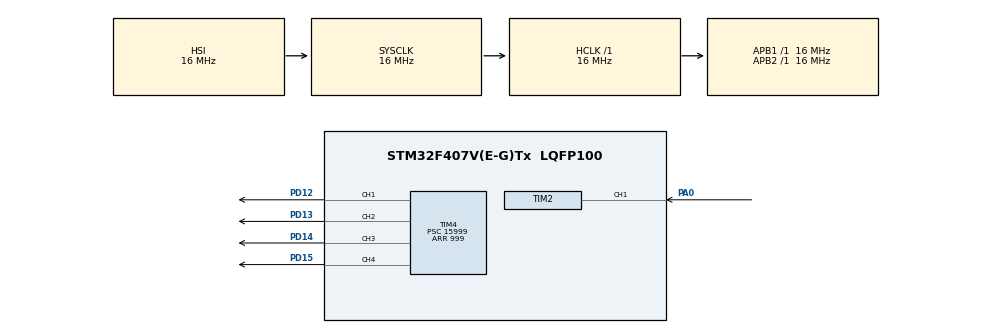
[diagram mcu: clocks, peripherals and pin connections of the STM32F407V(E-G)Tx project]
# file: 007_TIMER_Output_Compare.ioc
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Mcu.Family=STM32F4
Mcu.Name=STM32F407V(E-G)Tx
Mcu.Package=LQFP100
NVIC.PriorityGroup=NVIC_PRIORITYGROUP_4
NVIC.TIM2_IRQn=true\:0\:0\:false\:false\:true\:true\:true\:true
PA0-WKUP.Signal=S_TIM2_CH1_ETR
PD12.Signal=S_TIM4_CH1
PD13.Signal=S_TIM4_CH2
PD14.Signal=S_TIM4_CH3
PD15.Signal=S_TIM4_CH4
ProjectManager.HeapSize=0x200
ProjectManager.StackSize=0x400
ProjectManager.TargetToolchain=STM32CubeIDE
RCC.AHBFreq_Value=16000000
RCC.APB1Freq_Value=16000000
RCC.APB2Freq_Value=16000000
RCC.CortexFreq_Value=16000000
RCC.HSE_VALUE=25000000
RCC.HSI_VALUE=16000000
RCC.LSE_VALUE=32768
RCC.SYSCLKFreq_VALUE=16000000
RCC.VCOOutputFreq_Value=192000000
SH.S_TIM2_CH1_ETR.0=TIM2_CH1,Input_Capture1_from_TI1
SH.S_TIM4_CH1.0=TIM4_CH1,Output Compare1 CH1
SH.S_TIM4_CH2.0=TIM4_CH2,Output Compare2 CH2
SH.S_TIM4_CH3.0=TIM4_CH3,Output Compare3 CH3
SH.S_TIM4_CH4.0=TIM4_CH4,Output Compare4 CH4
TIM2.Channel-Input_Capture1_from_TI1=TIM_CHANNEL_1
TIM2.ICPolarity_CH1=TIM_INPUTCHANNELPOLARITY_BOTHEDGE
TIM2.Prescaler=15999
TIM4.Channel-Output\ Compare1\ CH1=TIM_CHANNEL_1
TIM4.Channel-Output\ Compare2\ CH2=TIM_CHANNEL_2
TIM4.Channel-Output\ Compare3\ CH3=TIM_CHANNEL_3
TIM4.Channel-Output\ Compare4\ CH4=TIM_CHANNEL_4
TIM4.OCMode_1=TIM_OCMODE_TOGGLE
TIM4.OCMode_2=TIM_OCMODE_TOGGLE
TIM4.OCMode_3=TIM_OCMODE_TOGGLE
TIM4.OCMode_4=TIM_OCMODE_TOGGLE
TIM4.Period=999
TIM4.Prescaler=15999
TIM4.Pulse-Output\ Compare1\ CH1=249
TIM4.Pulse-Output\ Compare2\ CH2=499
TIM4.Pulse-Output\ Compare3\ CH3=749
TIM4.Pulse-Output\ Compare4\ CH4=999
VP_TIM2_VS_ClockSourceINT.Mode=Internal
VP_TIM4_VS_ClockSourceINT.Mode=Internal
board=custom

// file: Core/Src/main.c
/* USER CODE BEGIN Header */
/**
  ******************************************************************************
  * @file           : main.c
  * @brief          : Main program body
  ******************************************************************************
  * @attention
  *
  * Copyright (c) 2026 STMicroelectronics.
  * All rights reserved.
  *
  * This software is licensed under terms that can be found in the LICENSE file
  * in the root directory of this software component.
  * If no LICENSE file comes with this software, it is provided AS-IS.
  *
  ******************************************************************************
  */
/* USER CODE END Header */
#include "main.h"

TIM_HandleTypeDef htim2;
TIM_HandleTypeDef htim4;

/* USER CODE BEGIN PV */
uint32_t pressTime=0;// basma ani butonu
uint32_t releaseTime=0;// birakma ani butonu
uint32_t pressDuration=0;// toplama basma kac saniye tutan degisken
uint8_t isPressed =0;// butona basildi mi cekildi mi

/* USER CODE END PV */

void SystemClock_Config(void);
static void MX_GPIO_Init(void);
static void MX_TIM2_Init(void);
static void MX_TIM4_Init(void);

/* USER CODE BEGIN 0 */
void HAL_TIM_IC_CaptureCallback(TIM_HandleTypeDef *htim)
{
	if(htim->Instance == TIM2 && htim->Channel == TIM_CHANNEL_1 );// birden fazla IC kullanim durumu olursa bu
	{															  // bu yapiyi kullanmak en mantiklisi olacaktir
		uint32_t capturedValue = HAL_TIM_ReadCapturedValue(htim, TIM_CHANNEL_1);

	if(isPressed == 0)
	{
		isPressed = 1;
		pressTime = capturedValue;
	}
	else
	{
		releaseTime = capturedValue;
		if(releaseTime >= pressTime)
		{
			pressDuration = releaseTime - pressTime;
		}
		else
		{
			pressDuration = (0xFFFFFFFF - pressTime + releaseTime + 1);
		}
		isPressed = 0;
	}
}

}
/* USER CODE END 0 */

int main(void)
{

  /* MCU Configuration--------------------------------------------------------*/

  /* Reset of all peripherals, Initializes the Flash interface and the Systick. */
  HAL_Init();

  /* Configure the system clock */
  SystemClock_Config();

  /* Initialize all configured peripherals */
  MX_GPIO_Init();
  MX_TIM2_Init();
  MX_TIM4_Init();
  /* USER CODE BEGIN 2 */

  //HAL_TIM_IC_Start_IT(&htim2,TIM_CHANNEL_1);
  	HAL_TIM_OC_Start(&htim4, TIM_CHANNEL_1);
  	HAL_TIM_OC_Start(&htim4, TIM_CHANNEL_2);
  	HAL_TIM_OC_Start(&htim4, TIM_CHANNEL_3);
  	HAL_TIM_OC_Start(&htim4, TIM_CHANNEL_4);
  /* USER CODE END 2 */

  /* Infinite loop */
  while (1)
  {

  }
}

void SystemClock_Config(void)
{
  RCC_OscInitTypeDef RCC_OscInitStruct = {0};
  RCC_ClkInitTypeDef RCC_ClkInitStruct = {0};

  /** Configure the main internal regulator output voltage
  */
  __HAL_RCC_PWR_CLK_ENABLE();
  __HAL_PWR_VOLTAGESCALING_CONFIG(PWR_REGULATOR_VOLTAGE_SCALE1);

  /** Initializes the RCC Oscillators according to the specified parameters
  * in the RCC_OscInitTypeDef structure.
  */
  RCC_OscInitStruct.OscillatorType = RCC_OSCILLATORTYPE_HSI;
  RCC_OscInitStruct.HSIState = RCC_HSI_ON;
  RCC_OscInitStruct.HSICalibrationValue = RCC_HSICALIBRATION_DEFAULT;
  RCC_OscInitStruct.PLL.PLLState = RCC_PLL_NONE;
  if (HAL_RCC_OscConfig(&RCC_OscInitStruct) != HAL_OK)
  {
    Error_Handler();
  }

  /** Initializes the CPU, AHB and APB buses clocks
  */
  RCC_ClkInitStruct.ClockType = RCC_CLOCKTYPE_HCLK|RCC_CLOCKTYPE_SYSCLK
                              |RCC_CLOCKTYPE_PCLK1|RCC_CLOCKTYPE_PCLK2;
  RCC_ClkInitStruct.SYSCLKSource = RCC_SYSCLKSOURCE_HSI;
  RCC_ClkInitStruct.AHBCLKDivider = RCC_SYSCLK_DIV1;
  RCC_ClkInitStruct.APB1CLKDivider = RCC_HCLK_DIV1;
  RCC_ClkInitStruct.APB2CLKDivider = RCC_HCLK_DIV1;

  if (HAL_RCC_ClockConfig(&RCC_ClkInitStruct, FLASH_LATENCY_0) != HAL_OK)
  {
    Error_Handler();
  }
}

static void MX_TIM2_Init(void)
{

  TIM_ClockConfigTypeDef sClockSourceConfig = {0};
  TIM_MasterConfigTypeDef sMasterConfig = {0};
  TIM_IC_InitTypeDef sConfigIC = {0};

  htim2.Instance = TIM2;
  htim2.Init.Prescaler = 15999;
  htim2.Init.CounterMode = TIM_COUNTERMODE_UP;
  htim2.Init.Period = 4294967295;
  htim2.Init.ClockDivision = TIM_CLOCKDIVISION_DIV1;
  htim2.Init.AutoReloadPreload = TIM_AUTORELOAD_PRELOAD_DISABLE;
  if (HAL_TIM_Base_Init(&htim2) != HAL_OK)
  {
    Error_Handler();
  }
  sClockSourceConfig.ClockSource = TIM_CLOCKSOURCE_INTERNAL;
  if (HAL_TIM_ConfigClockSource(&htim2, &sClockSourceConfig) != HAL_OK)
  {
    Error_Handler();
  }
  if (HAL_TIM_IC_Init(&htim2) != HAL_OK)
  {
    Error_Handler();
  }
  sMasterConfig.MasterOutputTrigger = TIM_TRGO_RESET;
  sMasterConfig.MasterSlaveMode = TIM_MASTERSLAVEMODE_DISABLE;
  if (HAL_TIMEx_MasterConfigSynchronization(&htim2, &sMasterConfig) != HAL_OK)
  {
    Error_Handler();
  }
  sConfigIC.ICPolarity = TIM_INPUTCHANNELPOLARITY_BOTHEDGE;
  sConfigIC.ICSelection = TIM_ICSELECTION_DIRECTTI;
  sConfigIC.ICPrescaler = TIM_ICPSC_DIV1;
  sConfigIC.ICFilter = 0;
  if (HAL_TIM_IC_ConfigChannel(&htim2, &sConfigIC, TIM_CHANNEL_1) != HAL_OK)
  {
    Error_Handler();
  }

}

static void MX_TIM4_Init(void)
{

  TIM_ClockConfigTypeDef sClockSourceConfig = {0};
  TIM_MasterConfigTypeDef sMasterConfig = {0};
  TIM_OC_InitTypeDef sConfigOC = {0};

  htim4.Instance = TIM4;
  htim4.Init.Prescaler = 15999;
  htim4.Init.CounterMode = TIM_COUNTERMODE_UP;
  htim4.Init.Period = 999;
  htim4.Init.ClockDivision = TIM_CLOCKDIVISION_DIV1;
  htim4.Init.AutoReloadPreload = TIM_AUTORELOAD_PRELOAD_DISABLE;
  if (HAL_TIM_Base_Init(&htim4) != HAL_OK)
  {
    Error_Handler();
  }
  sClockSourceConfig.ClockSource = TIM_CLOCKSOURCE_INTERNAL;
  if (HAL_TIM_ConfigClockSource(&htim4, &sClockSourceConfig) != HAL_OK)
  {
    Error_Handler();
  }
  if (HAL_TIM_OC_Init(&htim4) != HAL_OK)
  {
    Error_Handler();
  }
  sMasterConfig.MasterOutputTrigger = TIM_TRGO_RESET;
  sMasterConfig.MasterSlaveMode = TIM_MASTERSLAVEMODE_DISABLE;
  if (HAL_TIMEx_MasterConfigSynchronization(&htim4, &sMasterConfig) != HAL_OK)
  {
    Error_Handler();
  }
  sConfigOC.OCMode = TIM_OCMODE_TOGGLE;
  sConfigOC.Pulse = 249;
  sConfigOC.OCPolarity = TIM_OCPOLARITY_HIGH;
  sConfigOC.OCFastMode = TIM_OCFAST_DISABLE;
  if (HAL_TIM_OC_ConfigChannel(&htim4, &sConfigOC, TIM_CHANNEL_1) != HAL_OK)
  {
    Error_Handler();
  }
  sConfigOC.Pulse = 499;
  if (HAL_TIM_OC_ConfigChannel(&htim4, &sConfigOC, TIM_CHANNEL_2) != HAL_OK)
  {
    Error_Handler();
  }
  sConfigOC.Pulse = 749;
  if (HAL_TIM_OC_ConfigChannel(&htim4, &sConfigOC, TIM_CHANNEL_3) != HAL_OK)
  {
    Error_Handler();
  }
  sConfigOC.Pulse = 999;
  if (HAL_TIM_OC_ConfigChannel(&htim4, &sConfigOC, TIM_CHANNEL_4) != HAL_OK)
  {
    Error_Handler();
  }
  HAL_TIM_MspPostInit(&htim4);

}

static void MX_GPIO_Init(void)
{

  /* GPIO Ports Clock Enable */
  __HAL_RCC_GPIOA_CLK_ENABLE();
  __HAL_RCC_GPIOD_CLK_ENABLE();

}

void Error_Handler(void)
{
  __disable_irq();
  while (1)
  {
  }
}
